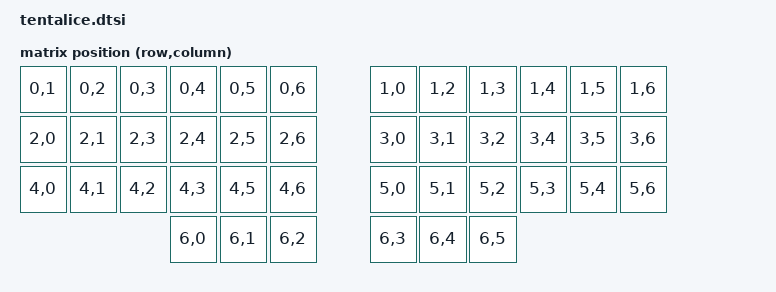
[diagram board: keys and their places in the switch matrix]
#include <dt-bindings/zmk/matrix_transform.h>
#include "tentalice-layouts.dtsi"
#include <dt-bindings/led/led.h>

/ {
  chosen {
    zmk,kscan = &kscan0;
    transform = <&default_transform>;
    zmk,physical-layout = &tentalice_default_layout;
    zmk,underglow = &led_strip;
  };

  kscan0: kscan {
    compatible = "zmk,kscan-gpio-charlieplex";
    wakeup-source;
    interrupt-gpios = <&gpio0 9 (GPIO_ACTIVE_HIGH | GPIO_PULL_DOWN) >;
   };

  default_transform: matrix_transform {
    compatible = "zmk,matrix-transform";
    rows = <7>;
    columns = <7>;
    map = <
      RC(0,1) RC(0,2) RC(0,3) RC(0,4) RC(0,5) RC(0,6)   RC(1,0) RC(1,2) RC(1,3) RC(1,4) RC(1,5) RC(1,6)
      RC(2,0) RC(2,1) RC(2,3) RC(2,4) RC(2,5) RC(2,6)   RC(3,0) RC(3,1) RC(3,2) RC(3,4) RC(3,5) RC(3,6) 
      RC(4,0) RC(4,1) RC(4,2) RC(4,3) RC(4,5) RC(4,6)   RC(5,0) RC(5,1) RC(5,2) RC(5,3) RC(5,4) RC(5,6) 
      RC(6,0)                 RC(6,1) RC(6,2)                   RC(6,3) RC(6,4)                 RC(6,5) 
    >;
  };
};

&uicr {
        nfct-pins-as-gpios;
};

&pinctrl {
    spi3_default: spi3_default {
        group1 {
            psels = <NRF_PSEL(SPIM_MOSI, 0, 10)>;
        };
    };

    spi3_sleep: spi3_sleep {
        group1 {
            psels = <NRF_PSEL(SPIM_MOSI, 0, 10)>;
            low-power-enable;
        };
    };
};

&spi3 {
    compatible = "nordic,nrf-spim";
    status = "okay";

    pinctrl-0 = <&spi3_default>;
    pinctrl-1 = <&spi3_sleep>;
    pinctrl-names = "default", "sleep";

    led_strip: ws2812@0 {
        compatible = "worldsemi,ws2812-spi";

        reg = <0>;
        spi-max-frequency = <4000000>;
        chain-length = <4>; 
        spi-one-frame = <0x70>;
        spi-zero-frame = <0x40>;
        color-mapping = <LED_COLOR_ID_GREEN
                         LED_COLOR_ID_RED
                         LED_COLOR_ID_BLUE>;
    };
};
